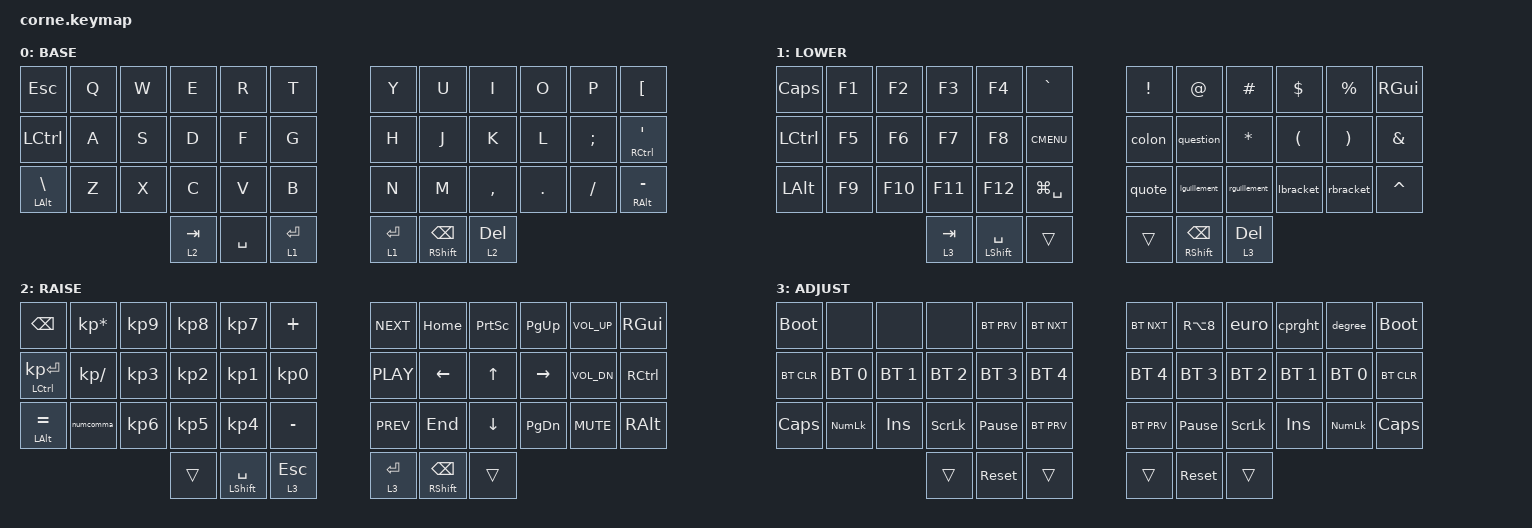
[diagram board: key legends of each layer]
/*
 * Copyright (c) 2020 The ZMK Contributors
 *
 * SPDX-License-Identifier: MIT
 */

#include <behaviors.dtsi>
#include <dt-bindings/zmk/bt.h>
#include <dt-bindings/zmk/keys.h>

#define BASE   0
#define LOWER  1
#define RAISE  2
#define ADJUST 3

&lt {
    quick_tap_ms = <220>;
};

&mt {
    quick_tap_ms = <220>;
};

/ {
    macros {
        numdot: numdot {
            label = "ZM_numdot";
            compatible = "zmk,behavior-macro";
            #binding-cells = <0>;
            wait-ms = <40>;
            tap-ms = <40>;
            bindings =
                <&macro_press>,
                <&kp LALT>,
                <&macro_tap>,
                <&kp KP_N4 &kp KP_N6>,
                <&macro_release>,
                <&kp LALT>;
        };

        grtsgn: grtsgn {
            label = "ZM_grtsgn";
            compatible = "zmk,behavior-macro";
            #binding-cells = <0>;
            wait-ms = <40>;
            tap-ms = <40>;
            bindings =
                <&macro_press>,
                <&kp LALT>,
                <&macro_tap>,
                <&kp KP_N6 &kp KP_N2>,
                <&macro_release>,
                <&kp LALT>;
        };

        cprght: cprght {
            label = "ZM_cprght";
            compatible = "zmk,behavior-macro";
            #binding-cells = <0>;
            wait-ms = <40>;
            tap-ms = <40>;
            bindings =
                <&macro_press>,
                <&kp LALT>,
                <&macro_tap>,
                <&kp KP_N0 &kp KP_N1 &kp KP_N6 &kp KP_N9>,
                <&macro_release>,
                <&kp LALT>;
        };

        degree: degree {
            label = "ZM_degree";
            compatible = "zmk,behavior-macro";
            #binding-cells = <0>;
            wait-ms = <40>;
            tap-ms = <40>;
            bindings =
                <&macro_press>,
                <&kp LALT>,
                <&macro_tap>,
                <&kp KP_N0 &kp KP_N1 &kp KP_N7 &kp KP_N6>,
                <&macro_release>,
                <&kp LALT>;
        };

        quote: quote {
            label = "ZM_quote";
            compatible = "zmk,behavior-macro";
            #binding-cells = <0>;
            wait-ms = <40>;
            tap-ms = <40>;
            bindings =
                <&macro_press>,
                <&kp LALT>,
                <&macro_tap>,
                <&kp KP_N3 &kp KP_N4>,
                <&macro_release>,
                <&kp LALT>;
        };

        euro: euro {
            label = "ZM_euro";
            compatible = "zmk,behavior-macro";
            #binding-cells = <0>;
            wait-ms = <40>;
            tap-ms = <40>;
            bindings =
                <&macro_press>,
                <&kp LALT>,
                <&macro_tap>,
                <&kp KP_N0 &kp KP_N1 &kp KP_N2 &kp KP_N8>,
                <&macro_release>,
                <&kp LALT>;
        };

        numcomma: numcomma {
            label = "ZM_numcomma";
            compatible = "zmk,behavior-macro";
            #binding-cells = <0>;
            wait-ms = <40>;
            tap-ms = <40>;
            bindings =
                <&macro_press>,
                <&kp LALT>,
                <&macro_tap>,
                <&kp KP_N4 &kp KP_N4>,
                <&macro_release>,
                <&kp LALT>;
        };

        lguillement: lguillement {
            label = "ZM_lguillement";
            compatible = "zmk,behavior-macro";
            #binding-cells = <0>;
            wait-ms = <40>;
            tap-ms = <40>;
            bindings =
                <&macro_press>,
                <&kp LALT>,
                <&macro_tap>,
                <&kp KP_N0 &kp KP_N1 &kp KP_N7 &kp KP_N1>,
                <&macro_release>,
                <&kp LALT>;
        };

        rguillement: rguillement {
            label = "ZM_rguillement";
            compatible = "zmk,behavior-macro";
            #binding-cells = <0>;
            wait-ms = <40>;
            tap-ms = <40>;
            bindings =
                <&macro_press>,
                <&kp LALT>,
                <&macro_tap>,
                <&kp KP_N0 &kp KP_N1 &kp KP_N8 &kp KP_N7>,
                <&macro_release>,
                <&kp LALT>;
        };

        lbracket: lbracket {
            label = "ZM_lbracket";
            compatible = "zmk,behavior-macro";
            #binding-cells = <0>;
            wait-ms = <40>;
            tap-ms = <40>;
            bindings =
                <&macro_press>,
                <&kp LALT>,
                <&macro_tap>,
                <&kp KP_N1 &kp KP_N2 &kp KP_N3>,
                <&macro_release>,
                <&kp LALT>;
        };

        rbracket: rbracket {
            label = "ZM_rbracket";
            compatible = "zmk,behavior-macro";
            #binding-cells = <0>;
            wait-ms = <40>;
            tap-ms = <40>;
            bindings =
                <&macro_press>,
                <&kp LALT>,
                <&macro_tap>,
                <&kp KP_N1 &kp KP_N2 &kp KP_N5>,
                <&macro_release>,
                <&kp LALT>;
        };

        colon: colon {
            label = "ZM_colon";
            compatible = "zmk,behavior-macro";
            #binding-cells = <0>;
            wait-ms = <40>;
            tap-ms = <40>;
            bindings =
                <&macro_press>,
                <&kp LALT>,
                <&macro_tap>,
                <&kp KP_N5 &kp KP_N8>,
                <&macro_release>,
                <&kp LALT>;
        };

        semicolon: semicolon {
            label = "ZM_semicolon";
            compatible = "zmk,behavior-macro";
            #binding-cells = <0>;
            wait-ms = <40>;
            tap-ms = <40>;
            bindings =
                <&macro_press>,
                <&kp LALT>,
                <&macro_tap>,
                <&kp KP_N5 &kp KP_N9>,
                <&macro_release>,
                <&kp LALT>;
        };

        question: question {
            label = "ZM_question";
            compatible = "zmk,behavior-macro";
            #binding-cells = <0>;
            wait-ms = <40>;
            tap-ms = <40>;
            bindings =
                <&macro_press>,
                <&kp LALT>,
                <&macro_tap>,
                <&kp KP_N6 &kp KP_N3>,
                <&macro_release>,
                <&kp LALT>;
        };

        lsqbracket: lsqbracket {
            label = "ZM_lsqbracket";
            compatible = "zmk,behavior-macro";
            #binding-cells = <0>;
            wait-ms = <40>;
            tap-ms = <40>;
            bindings =
                <&macro_press>,
                <&kp LALT>,
                <&macro_tap>,
                <&kp KP_N9 &kp KP_N1>,
                <&macro_release>,
                <&kp LALT>;
        };

        rsqbracket: rsqbracket {
            label = "ZM_rsqbracket";
            compatible = "zmk,behavior-macro";
            #binding-cells = <0>;
            wait-ms = <40>;
            tap-ms = <40>;
            bindings =
                <&macro_press>,
                <&kp LALT>,
                <&macro_tap>,
                <&kp KP_N9 &kp KP_N3>,
                <&macro_release>,
                <&kp LALT>;
        };
    };
};

/ {
    combos {
        compatible = "zmk,combos";
    };
};

/ {
    keymap {
        compatible = "zmk,keymap";

        // ▄▄▄▄▄▄▄▄▄▄▄▄▄▄▄▄▄▄▄▄▄▄▄▄▄▄▄▄▄▄▄▄▄▄▄▄▄▄▄▄▄▄▄▄▄▄▄▄▄▄▄▄▄▄▄▄▄▄▄▄▄▄▄▄▄▄▄▄▄▄▄▄▄▄▄▄▄▄▄▄▄▄▄▄▄▄▄▄▄▄▄▄▄▄▄▄▄▄▄▄▄▄▄▄▄▄▄▄▄▄▄▄▄▄

        base_layer {
            // ┌────────────────────────────────────────────┐

            label = "BASE";

            // └────────────────────────────────────────────┘
            /*
┌───────┬───────┬───────┬───────┬───────┬───────┐                   ┌───────┬───────┬───────┬───────┬───────┬───────┐
│  ESC  │   Q   │ LGUI/W│   E   │   R   │   T   │                   │   Y   │   U   │   I   │   O   │   P   │   [   │
├───────┼───────┼───────┼───────┼───────┼───────┤                   ├───────┼───────┼───────┼───────┼───────┼───────┤                      
│ CTRL/]│   A   │   S   │   D   │   F   │   G   │                   │   H   │   J   │   K   │   L   │   ;   │RCTRL/'│
├───────┼───────┼───────┼───────┼───────┼───────┤                   ├───────┼───────┼───────┼───────┼───────┼───────┤
│ LALT/\│   Z   │   X   │   C   │   V   │   B   │                   │   N   │   M   │   ,   │   .   │   /   │ RALT/-│
└───────┴───────┴───────┴───────┼───────┼───────┼───────┐   ┌───────┼───────┼───────┼───────┴───────┴───────┴───────┘
                                │ RAISE │ SPACE │ LOWER │   │ LOWER │  BKSP │ RAISE │
                                └───────┴───────┴───────┘   └───────┴───────┴───────┘   
*/

            bindings = <
&kp ESC           &kp Q  &kp W  &kp E      &kp R      &kp T        &kp Y      &kp U           &kp I      &kp O    &kp P     &kp LBKT
&kp LEFT_CONTROL  &kp A  &kp S  &kp D      &kp F      &kp G        &kp H      &kp J           &kp K      &kp L    &kp SEMI  &mt RCTRL SQT
&mt LALT BSLH     &kp Z  &kp X  &kp C      &kp V      &kp B        &kp N      &kp M           &kp COMMA  &kp DOT  &kp FSLH  &mt RALT MINUS
                                &lt 2 TAB  &kp SPACE  &lt 1 RET    &lt 1 RET  &mt RSHFT BSPC  &lt 2 DEL
            >;
        };

        // ▄▄▄▄▄▄▄▄▄▄▄▄▄▄▄▄▄▄▄▄▄▄▄▄▄▄▄▄▄▄▄▄▄▄▄▄▄▄▄▄▄▄▄▄▄▄▄▄▄▄▄▄▄▄▄▄▄▄▄▄▄▄▄▄▄▄▄▄▄▄▄▄▄▄▄▄▄▄▄▄▄▄▄▄▄▄▄▄▄▄▄▄▄▄▄▄▄▄▄▄▄▄▄▄▄▄▄▄▄▄▄▄▄▄

        lower_layer {
            // ┌────────────────────────────────────────────┐

            label = "LOWER";

            // └────────────────────────────────────────────┘
            /*
┌───────┬───────┬───────┬───────┬───────┬───────┐                   ┌───────┬───────┬───────┬───────┬───────┬───────┐
│ CAPS  │  F1   │  F2   │  F3   │  F4   │   ~   │                   │   !   │   @   │   #   │   $   │   %   │ RGUI  │
├───────┼───────┼───────┼───────┼───────┼───────┤                   ├───────┼───────┼───────┼───────┼───────┼───────┤                      
│ CTRL  │  F5   │  F6   │  F7   │  F8   │ MENU  │                   │   :   │   ?   │   *   │   (   │   )   │   &   │
├───────┼───────┼───────┼───────┼───────┼───────┤                   ├───────┼───────┼───────┼───────┼───────┼───────┤
│ LALT  │  F9   │  F10  │  F11  │  F12  │ LANG  │                   │   "   │   «   │   »   │   {   │   }   │   ^   │
└───────┴───────┴───────┴───────┼───────┼───────┼───────┐   ┌───────┼───────┼───────┼───────┴───────┴───────┴───────┘
                                │  ADJ  │ LSHFT │   ▼   │   │   ▼   │ RSHFT │  ADJ  │
                                └───────┴───────┴───────┘   └───────┴───────┴───────┘   
*/

            bindings = <
&kp CAPS   &kp F1  &kp F2   &kp F3     &kp F4           &kp GRAVE        &kp EXCL  &kp AT          &kp HASH      &kp DOLLAR  &kp PERCENT  &kp RGUI
&kp LCTRL  &kp F5  &kp F6   &kp F7     &kp F8           &kp K_CMENU      &colon    &question       &kp STAR      &kp LPAR    &kp RPAR     &kp AMPS
&kp LALT   &kp F9  &kp F10  &kp F11    &kp F12          &kp LG(SPACE)    &quote    &lguillement    &rguillement  &lbracket   &rbracket    &kp CARET
                            &lt 3 TAB  &mt LSHFT SPACE  &trans           &trans    &mt RSHFT BSPC  &lt 3 DEL
            >;
        };

        // ▄▄▄▄▄▄▄▄▄▄▄▄▄▄▄▄▄▄▄▄▄▄▄▄▄▄▄▄▄▄▄▄▄▄▄▄▄▄▄▄▄▄▄▄▄▄▄▄▄▄▄▄▄▄▄▄▄▄▄▄▄▄▄▄▄▄▄▄▄▄▄▄▄▄▄▄▄▄▄▄▄▄▄▄▄▄▄▄▄▄▄▄▄▄▄▄▄▄▄▄▄▄▄▄▄▄▄▄▄▄▄▄▄▄		

        raise_layer {
            // ┌────────────────────────────────────────────┐

            label = "RAISE";

            // └────────────────────────────────────────────┘
            /*
┌───────┬───────┬───────┬───────┬───────┬───────┐                   ┌───────┬───────┬───────┬───────┬───────┬───────┐
│ BKSP  │   *   │   9   │   8   │   7   │   +   │                   │ NEXT  │ HOME  │ PSCRN │ PGUP  │ VOLU  │ RGUI  │
├───────┼───────┼───────┼───────┼───────┼───────┤                   ├───────┼───────┼───────┼───────┼───────┼───────┤                      
│ CTRL  │   /   │   3   │   2   │   1   │   0   │                   │ PLAY  │   ←   │   ↑   │   →   │ VOLD  │ CTRL  │
├───────┼───────┼───────┼───────┼───────┼───────┤                   ├───────┼───────┼───────┼───────┼───────┼───────┤
│ ALT/= │   ,   │   6   │   5   │   4   │   -   │                   │ PREV  │  END  │   ↓   │ PGDN  │ MUTE  │ RALT  │
└───────┴───────┴───────┴───────┼───────┼───────┼───────┐   ┌───────┼───────┼───────┼───────┴───────┴───────┴───────┘
                                │   ▲   │ LSHFT │  ADJ  │   │  ADJ  │ RSHFT │   ▲   │
                                └───────┴───────┴───────┘   └───────┴───────┴───────┘  
*/

            bindings = <
&kp BSPC            &kp KP_MULTIPLY  &kp KP_N9  &kp KP_N8  &kp KP_N7        &kp PLUS     &kp C_NEXT  &kp HOME        &kp PSCRN  &kp PG_UP  &kp C_VOL_UP  &kp RGUI
&mt LCTRL KP_ENTER  &kp KP_SLASH     &kp KP_N3  &kp KP_N2  &kp KP_N1        &kp KP_N0    &kp C_PLAY  &kp LEFT        &kp UP     &kp RIGHT  &kp C_VOL_DN  &kp RCTRL
&mt LALT EQUAL      &numcomma        &kp KP_N6  &kp KP_N5  &kp KP_N4        &kp MINUS    &kp C_PREV  &kp END         &kp DOWN   &kp PG_DN  &kp C_MUTE    &kp RALT
                                                &trans     &mt LSHFT SPACE  &lt 3 ESC    &lt 3 RET   &mt RSHFT BSPC  &trans
            >;
        };

        // ▄▄▄▄▄▄▄▄▄▄▄▄▄▄▄▄▄▄▄▄▄▄▄▄▄▄▄▄▄▄▄▄▄▄▄▄▄▄▄▄▄▄▄▄▄▄▄▄▄▄▄▄▄▄▄▄▄▄▄▄▄▄▄▄▄▄▄▄▄▄▄▄▄▄▄▄▄▄▄▄▄▄▄▄▄▄▄▄▄▄▄▄▄▄▄▄▄▄▄▄▄▄▄▄▄▄▄▄▄▄▄▄▄▄

        adjust_layer {
            // ┌────────────────────────────────────────────┐

            label = "ADJUST";

            // └────────────────────────────────────────────┘
            /*
┌───────┬───────┬───────┬───────┬───────┬───────┐                   ┌───────┬───────┬───────┬───────┬───────┬───────┐
│ BLDR  │       │       │       │       │BT NEXT│                   │BT NEXT│   ₽   │   €   │       │       │  BLDR │
├───────┼───────┼───────┼───────┼───────┼───────┤                   ├───────┼───────┼───────┼───────┼───────┼───────┤                      
│ BTCLR │  BT0  │  BT1  │  BT2  │  BT3  │  BT4  │                   │  BT4  │  BT3  │  BT2  │  BT1  │  BT0  │ BTCLR │
├───────┼───────┼───────┼───────┼───────┼───────┤                   ├───────┼───────┼───────┼───────┼───────┼───────┤
│ CAPS  │ NUMLK │  INS  │ SLCK  │ PAUSE │BT PREV│                   │BT PREV│ PAUSE │ SLCK  │  INS  │ NUMLK │ CAPS  │
└───────┴───────┴───────┴───────┼───────┼───────┼───────┐   ┌───────┼───────┼───────┼───────┴───────┴───────┴───────┘
                                │   ▲   │ RESET │   ▼   │   │   ▼   │ RESET │   ▲   │
                                └───────┴───────┴───────┘   └───────┴───────┴───────┘
*/

            bindings = <
&bootloader  &none         &none         &none         &bt BT_PRV       &bt BT_NXT      &bt BT_NXT    &kp RA(N8)       &euro         &cprght       &degree       &bootloader
&bt BT_CLR   &bt BT_SEL 0  &bt BT_SEL 1  &bt BT_SEL 2  &bt BT_SEL 3     &bt BT_SEL 4    &bt BT_SEL 4  &bt BT_SEL 3     &bt BT_SEL 2  &bt BT_SEL 1  &bt BT_SEL 0  &bt BT_CLR
&kp CAPS     &kp KP_NUM    &kp INS       &kp SLCK      &kp PAUSE_BREAK  &bt BT_PRV      &bt BT_PRV    &kp PAUSE_BREAK  &kp SLCK      &kp INS       &kp KP_NUM    &kp CAPS
                                         &trans        &sys_reset       &trans          &trans        &sys_reset       &trans
            >;
        };
    };
};
